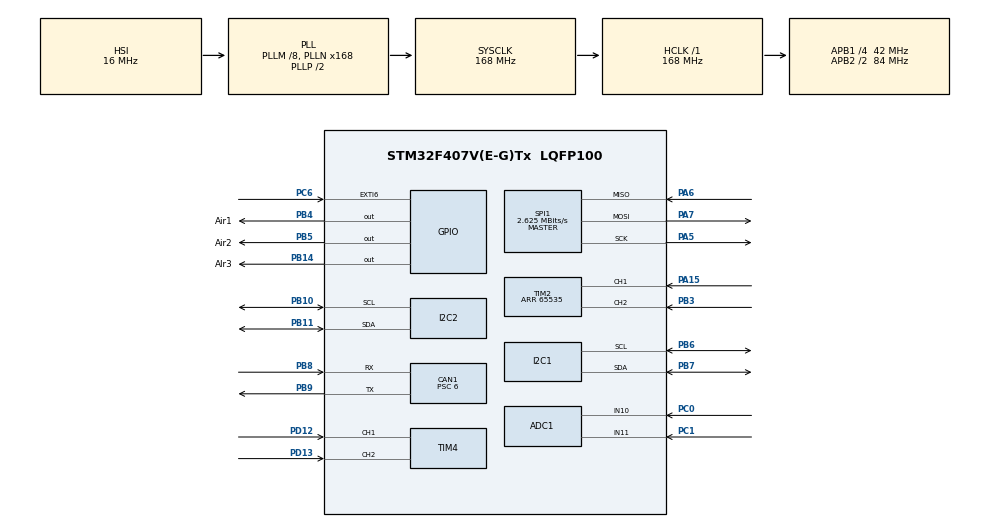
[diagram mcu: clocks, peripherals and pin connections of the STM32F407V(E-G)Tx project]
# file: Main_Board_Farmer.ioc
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ADC1.Channel-0\#ChannelRegularConversion=ADC_CHANNEL_10
ADC1.Channel-1\#ChannelRegularConversion=ADC_CHANNEL_11
ADC1.ContinuousConvMode=ENABLE
ADC1.NbrOfConversion=2
ADC1.NbrOfConversionFlag=1
ADC1.Rank-0\#ChannelRegularConversion=1
ADC1.Rank-1\#ChannelRegularConversion=2
ADC1.SamplingTime-0\#ChannelRegularConversion=ADC_SAMPLETIME_3CYCLES
ADC1.SamplingTime-1\#ChannelRegularConversion=ADC_SAMPLETIME_3CYCLES
ADC1.master=1
CAN1.BS1=CAN_BS1_4TQ
CAN1.BS2=CAN_BS2_2TQ
CAN1.CalculateBaudRate=1000000
CAN1.CalculateTimeBit=1000
CAN1.CalculateTimeQuantum=142.85714285714286
CAN1.Prescaler=6
Dma.ADC1.0.Direction=DMA_PERIPH_TO_MEMORY
Dma.ADC1.0.FIFOMode=DMA_FIFOMODE_DISABLE
Dma.ADC1.0.Instance=DMA2_Stream0
Dma.ADC1.0.MemDataAlignment=DMA_MDATAALIGN_HALFWORD
Dma.ADC1.0.MemInc=DMA_MINC_ENABLE
Dma.ADC1.0.Mode=DMA_CIRCULAR
Dma.ADC1.0.PeriphDataAlignment=DMA_PDATAALIGN_HALFWORD
Dma.ADC1.0.PeriphInc=DMA_PINC_DISABLE
Dma.ADC1.0.Priority=DMA_PRIORITY_LOW
Dma.Request0=ADC1
I2C1.I2C_Mode=I2C_Fast
I2C2.I2C_Mode=I2C_Fast
Mcu.Family=STM32F4
Mcu.Name=STM32F407V(E-G)Tx
Mcu.Package=LQFP100
NVIC.CAN1_RX0_IRQn=true\:0\:0\:false\:false\:true\:true\:true\:true
NVIC.DMA2_Stream0_IRQn=true\:0\:0\:false\:false\:true\:false\:true\:true
NVIC.EXTI9_5_IRQn=true\:0\:0\:false\:false\:true\:true\:true\:true
NVIC.PriorityGroup=NVIC_PRIORITYGROUP_4
NVIC.TIM1_BRK_TIM9_IRQn=true\:0\:0\:false\:false\:true\:true\:true\:true
NVIC.TIM3_IRQn=true\:0\:0\:false\:false\:true\:true\:true\:true
NVIC.TIM5_IRQn=true\:0\:0\:false\:false\:true\:true\:true\:true
NVIC.TIM8_BRK_TIM12_IRQn=true\:0\:0\:false\:false\:true\:true\:true\:true
PA13.Mode=Serial_Wire
PA13.Signal=SYS_JTMS-SWDIO
PA14.Mode=Serial_Wire
PA14.Signal=SYS_JTCK-SWCLK
PA15.Signal=S_TIM2_CH1_ETR
PA5.Mode=Full_Duplex_Master
PA5.Signal=SPI1_SCK
PA6.Mode=Full_Duplex_Master
PA6.Signal=SPI1_MISO
PA7.Mode=Full_Duplex_Master
PA7.Signal=SPI1_MOSI
PB10.Mode=I2C
PB10.Signal=I2C2_SCL
PB11.Mode=I2C
PB11.Signal=I2C2_SDA
PB14.GPIO_Label=AIr3
PB14.Signal=GPIO_Output
PB3.Signal=S_TIM2_CH2
PB4.GPIO_Label=Air1
PB4.Signal=GPIO_Output
PB5.GPIO_Label=Air2
PB5.Signal=GPIO_Output
PB6.Mode=I2C
PB6.Signal=I2C1_SCL
PB7.Mode=I2C
PB7.Signal=I2C1_SDA
PB8.Mode=CAN_Activate
PB8.Signal=CAN1_RX
PB9.Mode=CAN_Activate
PB9.Signal=CAN1_TX
PC0.Signal=ADCx_IN10
PC1.Signal=ADCx_IN11
PC10.Signal=USART3_TX
PC11.Signal=USART3_RX
PC6.Signal=GPXTI6
PD12.Signal=S_TIM4_CH1
PD13.Signal=S_TIM4_CH2
PH0-OSC_IN.Mode=HSE-External-Oscillator
PH0-OSC_IN.Signal=RCC_OSC_IN
PH1-OSC_OUT.Mode=HSE-External-Oscillator
PH1-OSC_OUT.Signal=RCC_OSC_OUT
ProjectManager.HeapSize=0x200
ProjectManager.StackSize=0x400
ProjectManager.TargetToolchain=STM32CubeIDE
RCC.48MHZClocksFreq_Value=84000000
RCC.AHBFreq_Value=168000000
RCC.APB1CLKDivider=RCC_HCLK_DIV4
RCC.APB1Freq_Value=42000000
RCC.APB1TimFreq_Value=84000000
RCC.APB2CLKDivider=RCC_HCLK_DIV2
RCC.APB2Freq_Value=84000000
RCC.APB2TimFreq_Value=168000000
RCC.CortexFreq_Value=168000000
RCC.HCLKFreq_Value=168000000
RCC.HSE_VALUE=25000000
RCC.HSI_VALUE=16000000
RCC.LSE_VALUE=32768
RCC.PLLM=8
RCC.PLLN=168
RCC.SYSCLKFreq_VALUE=168000000
RCC.SYSCLKSource=RCC_SYSCLKSOURCE_PLLCLK
RCC.VCOOutputFreq_Value=336000000
SH.ADCx_IN10.0=ADC1_IN10,IN10
SH.ADCx_IN11.0=ADC1_IN11,IN11
SH.S_TIM2_CH1_ETR.0=TIM2_CH1,Encoder_Interface
SH.S_TIM2_CH2.0=TIM2_CH2,Encoder_Interface
SH.S_TIM4_CH1.0=TIM4_CH1,Encoder_Interface
SH.S_TIM4_CH2.0=TIM4_CH2,Encoder_Interface
SPI1.BaudRatePrescaler=SPI_BAUDRATEPRESCALER_32
SPI1.CalculateBaudRate=2.625 MBits/s
SPI1.Direction=SPI_DIRECTION_2LINES
SPI1.Mode=SPI_MODE_MASTER
SPI1.VirtualType=VM_MASTER
TIM12.AutoReloadPreload=TIM_AUTORELOAD_PRELOAD_ENABLE
TIM12.Period=9999
TIM12.Prescaler=83
TIM2.AutoReloadPreload=TIM_AUTORELOAD_PRELOAD_ENABLE
TIM2.EncoderMode=TIM_ENCODERMODE_TI12
TIM2.Period=65535
TIM3.AutoReloadPreload=TIM_AUTORELOAD_PRELOAD_ENABLE
TIM3.Period=9999
TIM3.Prescaler=83
TIM4.AutoReloadPreload=TIM_AUTORELOAD_PRELOAD_ENABLE
TIM4.EncoderMode=TIM_ENCODERMODE_TI12
TIM5.AutoReloadPreload=TIM_AUTORELOAD_PRELOAD_ENABLE
TIM5.Period=9999
TIM5.Prescaler=183
TIM9.Period=9999
TIM9.Prescaler=167
VP_TIM12_VS_ClockSourceINT.Mode=Internal
VP_TIM3_VS_ClockSourceINT.Mode=Internal
VP_TIM5_VS_ClockSourceINT.Mode=Internal
VP_TIM9_VS_ClockSourceINT.Mode=Internal
board=custom

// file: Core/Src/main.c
/* USER CODE BEGIN Header */
/**
  ******************************************************************************
  * @file           : main.c
  * @brief          : Main program body
  ******************************************************************************
  * @attention
  *
  * Copyright (c) 2024 STMicroelectronics.
  * All rights reserved.
  *
  * This software is licensed under terms that can be found in the LICENSE file
  * in the root directory of this software component.
  * If no LICENSE file comes with this software, it is provided AS-IS.
  *
  ******************************************************************************
  */
/* USER CODE END Header */
#include "main.h"
#include "adc.h"
#include "can.h"
#include "dma.h"
#include "i2c.h"
#include "spi.h"
#include "tim.h"
#include "gpio.h"

/* USER CODE BEGIN Includes */
#include "bno055_stm32.h"
#include "bno055.h"
#include "IIRFilter.h"
#include "math.h"
#include "PID_Position.h"
#include "stdlib.h"
/* USER CODE END Includes */

/* USER CODE BEGIN PTD */
PIDPosition pid;
CAN_RxHeaderTypeDef RxHeader;
CAN_TxHeaderTypeDef TxHeader;
typedef struct{
	uint32_t counter;
	uint32_t new_counter;
	uint8_t counter_status;
	float speed;
	float rdps;
	double distant;
}Encoder;
typedef struct {
	double Roll;
	double Pitch;
	double Yaw;
}Rotation;

Encoder encoderX;
Encoder encoderY;
Rotation Angle;
bno055_vector_t Q;
IIRFilter IR;
/* USER CODE END PTD */

/* USER CODE BEGIN PD */
#define PI 3.1456
#define r 0.03 //[Radius m]
#define ry 0.02
#define D 2*r //[Diameter m]
#define CPR_X 1440
#define CPR_Y 1440
#define Rotary1 0
#define Rotary2 1
#define DEBOUNCE_DELAY 400
#define sampling_time  10 //[10ms]
#define dt 0.01
#define Alpha 0.9f
#define Kp_X 1.4
#define Ki_X 0.0001
#define Kd_X 0.004

#define Kp_Y 2.0
#define Ki_Y 0.0001
#define Kd_Y 0.004

#define Kp_Yaw 1.4
#define Ki_Yaw 0.0001
#define Kd_Yaw 0.004

#define X 0
#define Y 1
#define YAW 2
/* USER CODE END PD */

/* USER CODE BEGIN PV */

uint32_t previousMillis = 0;
uint32_t currentMillis = 0;

uint8_t TxData[8];
uint32_t TxMailbox;
uint16_t V1_out = 0;
uint16_t V2_out = 0;
uint16_t V3_out = 0;
uint16_t V4_out = 0;
uint8_t RxDataESP[13];
uint8_t RxData[8];
float RxData1 = 0;
float RxData2 = 0;
float RxData3 = 0;
float RxData4 = 0;
float V1 = 0; // target speed of motor1
float V2 = 0; // target speed of motor2
float V3 = 0; // target speed of motor1
float V4 = 0; // target speed of motor2

uint8_t datacheck = 0;
uint8_t cntt;
float V_back;
float V1_back;
float V2_back;
float V3_back;
float V4_back;
//NRF
float Speed;
//Varible to read Encoder
float X_old_enR;
float Y_old_enR;
float Yaw_old_IMU;
float yaw_old_enR;
float X_enR = -0.0;
float Y_enR = 0.0;
float Yaw_IMU = 0.0;
float yaw_enR;
float v;
float W1;
float W2;
float Vx_enR;
float Vy_enR;
float thetaY;

// IMU
float theta;
double sinr_cosp;
double cosr_cosp;
double sinp;
double siny_cosp;
double cosy_cosp;
double angle; // Angle in degrees

float Vx;
float Vy;
float Omega;
float VxM;
float VyM;
float OmegaM;
float vx;
float vy;
float omega;

int j;
int k;
int b;
int p;
uint8_t s;
uint8_t c;
uint8_t d;
uint8_t DropRice;
uint8_t State;
uint8_t Mode;
uint8_t stop;
uint8_t Position;
float Output_max = 0.6;
float Integral_max = 0.6;
float Output_Vx;
float Output_Vy;
float Output_Omega;
float errorX = 0.0;
float errorY = 0.0;
float errorYaw = 0.0;
float goal[3];
float goal1[] = {0.45,0.0,0.0};
float goal2[] = {0.45,-1.38,0.0};
float goal3[] = {0.25,-1.38,0.0};
float goal4[] = {0.25,-2.38,0.0};
float goal5[] = {0.25,-3.38,0.0};
float goal6[] = {2.25,-3.35, 0.0};
float goal7[] = {2.25,-3.23,-1.57};
uint8_t espcan1;

// laser
uint16_t AD_RES[2];
float dcm_X;
float dcm_Y;
double laserx;
double lasery;
double target_laserx[] = {3.25, 3.35, 3.45, 1.071}; //m
double target_lasery[] = {2.2, 3.1, 3.99, 1.2, 1.63, 2.13, 2.60, 3.10, 3.58}; //m
double errorlaserx;
double errorlasery;
/* USER CODE END PV */

void SystemClock_Config(void);
/* USER CODE BEGIN PFP */
float map(float Input, float Min_Input , float Max_Input ,float Min_Output, float Max_Output){

	return (float) ((Input - Min_Input) * (Max_Output - Min_Output) / (Max_Input - Min_Input) + Min_Output);
}
void read_encoder(Encoder *enc, TIM_HandleTypeDef* timer, float CPR){
	enc->new_counter = __HAL_TIM_GET_COUNTER(timer);
	enc->counter_status = __HAL_TIM_IS_TIM_COUNTING_DOWN(timer);
	int16_t count_change = enc->new_counter - enc->counter;
	if(enc->counter_status && count_change <0){
		count_change += 65536;
	}else if (!enc->counter_status && count_change > 0){
		count_change -= 65536;
	}
	enc->counter = enc->new_counter;
	enc->counter_status = (count_change >=0);
	enc->speed = (float)count_change*1000.0f/(CPR_X * sampling_time);
	enc->rdps = (float)count_change*2*PI*1000.0f/(CPR_X * sampling_time);
}
void HAL_CAN_RxFifo0MsgPendingCallback(CAN_HandleTypeDef *hcan) {
	HAL_CAN_GetRxMessage(hcan, CAN_RX_FIFO0, &RxHeader, RxData);
	cntt++;
	while (cntt - 100 > 0) {
		//HAL_GPIO_TogglePin(GPIOC, GPIO_PIN_13);
		cntt = 0;
	}
	if (RxHeader.StdId == 0x401)
		{
			VxM = map(RxData[0], 0, 255, -3.0 , 3.0);
			VyM = map(RxData[1], 0, 255, -3.0 , 3.0);
			OmegaM = map(RxData[2], 0, 255, -3.0 , 3.0);
			Mode = RxData[3];
			Position = RxData[4];
		if (VxM >= -0.05 && VxM <= 0.05) {
			VxM = 0.0;
		}
		if (VyM >= -0.05 && VyM <= 0.05) {
			VyM = 0.0;
		}
		if (OmegaM >= -0.05 && OmegaM <= 0.05) {
			OmegaM = 0.0;
		}
//			Catch = RxData[5];
//			Push = RxData[6];
//			Drop = RxData[7];
//
//			if (Position == 11)
//			{
//				Stepper = RxData[6];
//				Shotter = RxData[7];
//			}
//			else
//			{
//				Push = 0;
//				Drop = 0;
//			}
		}
	else if (RxHeader.StdId == 0x215) {
			RxData1 = (RxData[0] << 8) | RxData[1];
			RxData2 = (RxData[2] << 8) | RxData[3];
			V1_back = map(RxData1, 0, 65535, -70.0, 70.0);
			V2_back = map(RxData2, 0, 65535, -70.0, 70.0);
			if (V1_back >= 0.001 && V1_back <= -0.001)
			{
				V1_back = 0.0;
			}
			if (V2_back >= 0.001 && V2_back <= -0.001) {
				V2_back = 0.0;
			}
			datacheck = 1;
	}
	else if (RxHeader.StdId == 0x211) {
			RxData3 = (RxData[0] << 8) | RxData[1];
			RxData4 = (RxData[2] << 8) | RxData[3];
			V3_back = map(RxData3, 0, 65535, -70.0, 70.0);
			V4_back = map(RxData4, 0, 65535, -70.0, 70.0);
			if (V3_back >= 0.001 && V3_back <= -0.001)
			{
			V3_back = 0.0;
		}
		if (V4_back >= 0.001 && V4_back <= -0.001) {
			V4_back = 0.0;
		}
			datacheck = 1;
	}
}

/* USER CODE END PFP */

int main(void)
{

  /* MCU Configuration--------------------------------------------------------*/

  /* Reset of all peripherals, Initializes the Flash interface and the Systick. */
  HAL_Init();

  /* USER CODE BEGIN Init */
  PID_Position_Init(&pid, 3);
  pid.limMax = Output_max;
  pid.limMin = -Output_max;
  pid.limMaxInt = Integral_max;
  pid.limMinInt = -Integral_max;
  pid.T = dt;
  pid.alpha = 0.8;
  /* USER CODE END Init */

  /* Configure the system clock */
  SystemClock_Config();

  /* Initialize all configured peripherals */
  MX_GPIO_Init();
  MX_DMA_Init();
  MX_CAN1_Init();
  MX_I2C1_Init();
  MX_SPI1_Init();
  MX_I2C2_Init();
  MX_TIM4_Init();
  MX_TIM3_Init();
  MX_TIM2_Init();
  MX_TIM9_Init();
  MX_TIM5_Init();
  MX_ADC1_Init();
  MX_TIM12_Init();
  /* USER CODE BEGIN 2 */
  // CAN _Transmition
  	HAL_CAN_Start(&hcan1);
  	HAL_CAN_ActivateNotification(&hcan1, CAN_IT_RX_FIFO0_MSG_PENDING);
  	TxHeader.DLC = 7; // data length
  	TxHeader.IDE = CAN_ID_STD;
  	TxHeader.RTR = CAN_RTR_DATA;
  	TxHeader.StdId = 0x407; //Id 0x7FF

  	// TIMER Internal clock
  	HAL_TIM_Base_Start_IT(&htim3);
  	HAL_TIM_Base_Start_IT(&htim12);
  	HAL_TIM_Base_Start_IT(&htim5);

  	// IMU
	bno055_assignI2C(&hi2c1);
	bno055_setup();
	bno055_setOperationModeNDOF();

	// Read Rotary encoder
	HAL_TIM_Encoder_Start(&htim2, TIM_CHANNEL_ALL);
	HAL_TIM_Encoder_Start(&htim4, TIM_CHANNEL_ALL);

	// UART
//	HAL_UART_Receive_IT(&huart3, RxDataESP, 13);
	// IRFilter
//	IIRFilter_Init(&IR, Alpha);
//  	NVIC_SystemReset();
//  	HAL_NVIC_SystemReset();

	// ADC
//	HAL_ADCEx_Calibration_Start(&hadc1);

  /* USER CODE END 2 */

  /* Infinite loop */
  while (1)
  {

    /* USER CODE BEGIN 3 */

//	  read_encoder(&encoderX, &htim2, CPR_X);
//		read_encoder(&encoderY, &htim4, CPR_Y);
//		W1 = (double) encoderX.rdps * r;
//		W2 = (double) encoderY.rdps * r;
//		Q = bno055_getVectorQuaternion();
//		// yaw (z-axis rotation)
//		siny_cosp = 2 * (Q.w * Q.z + Q.x * Q.y);
//		cosy_cosp = 1 - 2 * (Q.y * Q.y + Q.z * Q.z);
//		Angle.Yaw = atan2(siny_cosp, cosy_cosp);
//		//		theta = Angle.Yaw; // radians]
//		theta = Angle.Yaw;
//		Vx_enR = W1 * cosf(theta) - W2 * sinf(theta);
//		Vy_enR = W1 * sinf(theta) + W2 * cosf(theta);
//		X_enR = X_enR + Vx_enR * dt;
//		Y_enR = Y_enR + Vy_enR * dt;
//		HAL_ADC_Start_DMA(&hadc1, &AD_RES, 2);
//		laserx = ((AD_RES[1] *0.01416) + 0.1963)/10; //aready
//	  	lasery = ((AD_RES[0] *0.01289) + 0.3364)/10;
//
//	  	HAL_Delay(10);

  }
  /* USER CODE END 3 */
}

void SystemClock_Config(void)
{
  RCC_OscInitTypeDef RCC_OscInitStruct = {0};
  RCC_ClkInitTypeDef RCC_ClkInitStruct = {0};

  /** Configure the main internal regulator output voltage
  */
  __HAL_RCC_PWR_CLK_ENABLE();
  __HAL_PWR_VOLTAGESCALING_CONFIG(PWR_REGULATOR_VOLTAGE_SCALE1);

  /** Initializes the RCC Oscillators according to the specified parameters
  * in the RCC_OscInitTypeDef structure.
  */
  RCC_OscInitStruct.OscillatorType = RCC_OSCILLATORTYPE_HSI;
  RCC_OscInitStruct.HSIState = RCC_HSI_ON;
  RCC_OscInitStruct.HSICalibrationValue = RCC_HSICALIBRATION_DEFAULT;
  RCC_OscInitStruct.PLL.PLLState = RCC_PLL_ON;
  RCC_OscInitStruct.PLL.PLLSource = RCC_PLLSOURCE_HSI;
  RCC_OscInitStruct.PLL.PLLM = 8;
  RCC_OscInitStruct.PLL.PLLN = 168;
  RCC_OscInitStruct.PLL.PLLP = RCC_PLLP_DIV2;
  RCC_OscInitStruct.PLL.PLLQ = 4;
  if (HAL_RCC_OscConfig(&RCC_OscInitStruct) != HAL_OK)
  {
    Error_Handler();
  }

  /** Initializes the CPU, AHB and APB buses clocks
  */
  RCC_ClkInitStruct.ClockType = RCC_CLOCKTYPE_HCLK|RCC_CLOCKTYPE_SYSCLK
                              |RCC_CLOCKTYPE_PCLK1|RCC_CLOCKTYPE_PCLK2;
  RCC_ClkInitStruct.SYSCLKSource = RCC_SYSCLKSOURCE_PLLCLK;
  RCC_ClkInitStruct.AHBCLKDivider = RCC_SYSCLK_DIV1;
  RCC_ClkInitStruct.APB1CLKDivider = RCC_HCLK_DIV4;
  RCC_ClkInitStruct.APB2CLKDivider = RCC_HCLK_DIV2;

  if (HAL_RCC_ClockConfig(&RCC_ClkInitStruct, FLASH_LATENCY_5) != HAL_OK)
  {
    Error_Handler();
  }
}

/* USER CODE BEGIN 4 */

void HAL_TIM_PeriodElapsedCallback(TIM_HandleTypeDef *htim)
{
	if (htim->Instance == TIM3)
	{
		//PID POSITION

		Output_Vx = PID_Position(&pid, goal[0], X_enR, Kp_X, Ki_X, Kd_X, X);
		Output_Vy = PID_Position(&pid, goal[1], Y_enR, Kp_Y, Ki_Y, Kd_Y, Y);
		Output_Omega = PID_Position(&pid, goal[2], theta, Kp_Yaw, Ki_Yaw, Kd_Yaw, YAW);
		vx = Output_Vx*cosf(theta) + Output_Vy*sinf(theta);
		vy = -Output_Vx*sinf(theta) + Output_Vy*cosf(theta);
		omega = Output_Omega;
		if (Mode == 1)
		{
			Vx = vx;
			Vy = vy;
			Omega = omega;
		}
		else if (Mode == 0)
		{
			Vx = VxM;
			Vy = VyM;
			Omega = OmegaM;
		}
		V1_out = map(Vx, -3.0, 3.0, 0, 65535);
		V2_out = map(Vy, -3.0, 3.0, 0, 65535);
		V3_out = map(Omega, -3.14, 3.14, 0, 65535);
		TxData[0] = ((V1_out & 0xFF00) >> 8);
		TxData[1] = (V1_out & 0x00FF);
		TxData[2] = ((V2_out & 0xFF00) >> 8);
		TxData[3] = (V2_out & 0x00FF);
		TxData[4] = ((V3_out & 0xFF00) >> 8);
		TxData[5] = (V3_out & 0x00FF);
		TxData[6] = State;
		HAL_CAN_AddTxMessage(&hcan1, &TxHeader, TxData, &TxMailbox);

	}
	if (htim->Instance == TIM5)
	{
		errorX = goal[0] - X_enR;
		errorY = goal[1] - Y_enR;
		errorYaw = goal[2] - theta;
		if (Position == 1 && State == 0) {
			goal[0] = goal1[0];
			goal[1] = goal1[1];
			goal[2] = goal1[2];
			State = 1;
		} else if (abs(errorX) < 0.05 && State == 1) {
			goal[0] = goal2[0];
			goal[1] = goal2[1];
			goal[2] = goal2[2];
			State = 2;
		} else if (abs(errorY) < 0.05 && State == 2) {
			errorlaserx = -target_laserx[0] + laserx;
			errorlasery = -target_lasery[0] + lasery;
			goal[0] = errorlaserx+X_enR;
			goal[1] = errorlasery+Y_enR;
			goal[2] = goal3[2];
			if (abs(errorlaserx)< 0.05 && abs(errorlasery)<0.05)
			{
				State = 3;
			}
		}
		else if (Position == 2 && State == 3) {
			errorlaserx = -target_laserx[1] + laserx;
			errorlasery = -target_lasery[1] + lasery;
			goal[0] = errorlaserx + X_enR;
			goal[1] = errorlasery + Y_enR;
			goal[2] = goal4[2];
			if (abs(errorlaserx)< 0.05 && abs(errorlasery)<0.05)
			{
				State = 4;
			}
		}
		else if (Position == 3 && State == 4) {
			errorlaserx = -target_laserx[2] + laserx;
			errorlasery = -target_lasery[2] + lasery;
			goal[0] = errorlaserx + X_enR;
			goal[1] = errorlasery + Y_enR;
			goal[2] = goal5[2];
			if (abs(errorlaserx) < 0.05 && abs(errorlasery) < 0.05) {
				State = 5;
			}
		}
		else if (Position == 4 && State == 5) {
			goal[0] = goal6[0];
			goal[1] = goal6[1];
			goal[2] = goal6[2];
			State = 6;
		} else if (abs(errorY) < 0.05 && State == 6) {
			goal[0] = goal6[0];
			goal[1] = goal6[1];
			goal[2] = goal7[2];
			State = 7;
		}
		else if (Position == 5 && State == 7) {
			errorlaserx = -target_laserx[3] + lasery;
			errorlasery = target_lasery[3] - laserx;
			goal[0] = errorlaserx+X_enR;
			goal[1] = errorlasery+Y_enR;
			goal[2] = -1.57;
			if (abs(errorlaserx) < 0.05 && abs(errorlasery) < 0.05 && State == 7) {
				State = 8;
			}
		}
		else if (Position == 6 && State == 8) {
			errorlaserx = -target_laserx[3] + lasery;
			errorlasery = target_lasery[4] - laserx;
			goal[0] = errorlaserx+X_enR;
			goal[1] = errorlasery+Y_enR;
			goal[2] = -1.57;
			if (abs(errorlaserx) < 0.05 && abs(errorlasery) < 0.05 && State == 8) {
					State = 9;
			}
		}
		else if (Position == 7 && State == 9 ) {
			errorlaserx = -target_laserx[3] + lasery;
			errorlasery = target_lasery[5] - laserx;
			goal[0] = errorlaserx+X_enR;
			goal[1] = errorlasery+Y_enR;
			goal[2] = -1.57;
			if (abs(errorlaserx) <= 0.05 && abs(errorlasery) <= 0.05 && State == 9) {
					State = 10;
			}
		}
		else if (Position == 8 && State == 10 ) {
			errorlaserx = -target_laserx[3] + lasery;
			errorlasery = target_lasery[6] - laserx;
			goal[0] = errorlaserx+X_enR;
			goal[1] = errorlasery+Y_enR;
			goal[2] = -1.57;
			if (abs(errorlaserx) <= 0.05 && abs(errorlasery) <= 0.05 && State == 10) {
					State = 11;
			}
		}
		else if (Position == 9 && State == 11 ) {
			errorlaserx = -target_laserx[3] + lasery;
			errorlasery = target_lasery[7] - laserx;
			goal[0] = errorlaserx+X_enR;
			goal[1] = errorlasery+Y_enR;
			goal[2] = -1.57;
			if (abs(errorlaserx) <= 0.03 && abs(errorlasery) <= 0.03 && State == 11) {
					State = 12;
			}
		}
		else if (Position == 10 && State == 12 ) {
			errorlaserx = -target_laserx[3] + lasery;
			errorlasery = target_lasery[8] - laserx;
			goal[0] = errorlaserx+X_enR;
			goal[1] = errorlasery+Y_enR;
			goal[2] = -1.57;
			if (abs(errorlaserx) <= 0.05 && abs(errorlasery) <= 0.05 && State == 12) {
					State = 13;
			}
		}
	}
	if (htim->Instance == TIM12)
	{
		read_encoder(&encoderX, &htim2, CPR_X);
	    read_encoder(&encoderY, &htim4, CPR_Y);
	    W1 = (double) encoderX.rdps * r;
	    W2 = (double) encoderY.rdps * r;
	    Q = bno055_getVectorQuaternion();
		// yaw (z-axis rotation)
		siny_cosp = 2 * (Q.w * Q.z + Q.x * Q.y);
		cosy_cosp = 1 - 2 * (Q.y * Q.y + Q.z * Q.z);
		Angle.Yaw = atan2(siny_cosp, cosy_cosp);
		//		theta = Angle.Yaw; // radians]
		theta = Angle.Yaw;
		Vx_enR = W1*cosf(theta) - W2*sinf(theta);
		Vy_enR = W1*sinf(theta) + W2*cosf(theta);
		X_enR = X_enR + Vx_enR*dt;
		Y_enR = Y_enR + Vy_enR*dt;
		HAL_ADC_Start_DMA(&hadc1, &AD_RES, 2);
		laserx = ((AD_RES[1] *0.01416) + 0.1963)/10; //aready
		lasery = ((AD_RES[0] *0.01289) + 0.3364)/10;
		p++;

	}
}
/* USER CODE END 4 */

void Error_Handler(void)
{
  __disable_irq();
  while (1)
  {
  }
}
